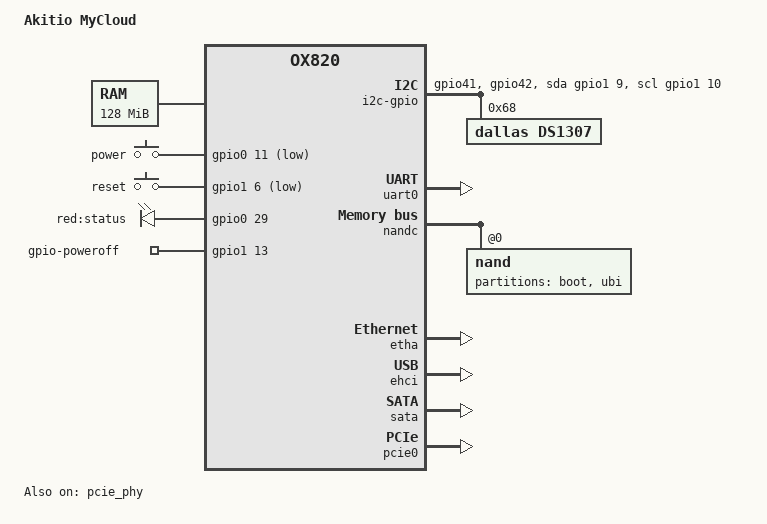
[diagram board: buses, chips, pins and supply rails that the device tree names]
/dts-v1/;

#include "ox820.dtsi"

#include <dt-bindings/gpio/gpio.h>
#include <dt-bindings/input/input.h>

/ {
	model = "Akitio MyCloud";

	compatible = "akitio,mycloud", "oxsemi,ox820";

	chosen {
		bootargs = "earlyprintk console=ttyS0,115200";
		stdout-path = "serial0:115200n8";
	};

	memory {
		/* 128Mbytes DDR */
		reg = <0x60000000 0x8000000>;
	};

	aliases {
		serial0 = &uart0;
		gpio0 = &gpio0;
		gpio1 = &gpio1;
		led-boot = &led_status;
		led-failsafe = &led_status;
		led-running = &led_status;
		led-upgrade = &led_status;
	};

	i2c-gpio {
		compatible = "i2c-gpio";
		gpios = <&gpio1  9 GPIO_ACTIVE_HIGH
		         &gpio1 10 GPIO_ACTIVE_HIGH>;
		pinctrl-names = "default";
		pinctrl-0 = <&pinctrl_i2c>;
		i2c-gpio,delay-us = <10>;
		#address-cells = <1>;
		#size-cells = <0>;
		ds1307: rtc@68 {
			compatible = "dallas,ds1307";
			reg = <0x68>;
		};
	};

	keys {
		compatible = "gpio-keys-polled";
		pinctrl-names = "default";
		pinctrl-0 = <&pinctrl_buttons>;
		#address-cells = <1>;
		#size-cells = <0>;
		poll-interval = <100>;
		power {
			label = "power";
			gpios = <&gpio0 11 GPIO_ACTIVE_LOW>;
			linux,code = <KEY_POWER>;
		};
		reset {
			label = "reset";
			gpios = <&gpio1 6 GPIO_ACTIVE_LOW>;
			linux,code = <KEY_RESTART>;
		};
	};

	leds {
		compatible = "gpio-leds";
		pinctrl-names = "default";
		pinctrl-0 = <&pinctrl_leds>;
		led_status: status {
			label = "red:status";
			gpios = <&gpio0 29 GPIO_ACTIVE_HIGH>;
		};
	};

	gpio-poweroff {
		compatible = "gpio-poweroff";
		pinctrl-names = "default";
		pinctrl-0 = <&pinctrl_poweroff>;
		gpios = <&gpio1 13 GPIO_SINGLE_ENDED>;
	};
};

&pinctrl {
	pinctrl_i2c: i2c-0 {
		i2c {
			pins = "gpio41", "gpio42"; /* MF_B9, MF_B10 */
			function = "gpio";
			/* ToDo: find a way to set debounce for those pins */
		};
	};
	pinctrl_buttons: buttons-0 {
		buttons {
			pins = "gpio11", "gpio38"; /* MF_A11, MF_B6 GPIO */
			function = "gpio";
		};
	};
	pinctrl_leds: leds-0 {
		leds {
			pins = "gpio29"; /* MF_A29 GPIO */
			function = "gpio";
		};
	};
	pinctrl_poweroff: poweroff-0 {
		poweroff {
			pins = "gpio45"; /* MF_B13 GPIO */
			function = "gpio";
		};
	};
};

&uart0 {
	status = "okay";

	pinctrl-names = "default";
	pinctrl-0 = <&pinctrl_uart0>;
};

&nandc {
	status = "okay";

	pinctrl-names = "default";
	pinctrl-0 = <&pinctrl_nand>;

	nand@0 {
		reg = <0>;
		#address-cells = <1>;
		#size-cells = <1>;
		nand-ecc-mode = "soft";
		nand-ecc-algo = "hamming";

		partition@0 {
			label = "boot";
			reg = <0x0 0x26c0000>;
		};

		partition@26c0000 {
			label = "ubi";
			reg = <0x26c0000 0xd940000>;
		};
	};
};

&etha {
	status = "okay";

	pinctrl-names = "default";
	pinctrl-0 = <&pinctrl_etha_mdio>;
};

&ehci {
	status = "okay";
};

&sata {
	status = "okay";
	nr-ports = <2>;
};

&pcie_phy {
	status = "okay";
};

&pcie0 {
	status = "okay";
};
